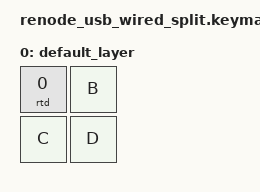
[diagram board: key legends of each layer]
#include <behaviors.dtsi>
#include <behaviors/runtime_tapdance.dtsi>
#include <dt-bindings/zmk/keys.h>

/ {
	keymap {
		compatible = "zmk,keymap";

		default_layer {
			bindings = <
			&rtd 0 &kp B
			&kp C &kp D
			>;
		};
	};
};
